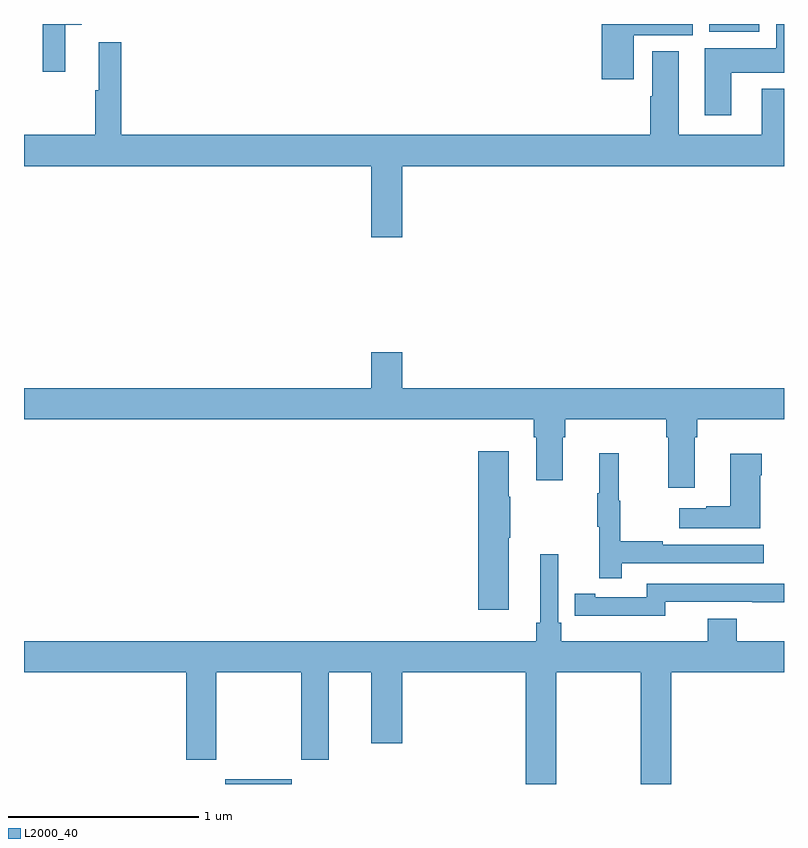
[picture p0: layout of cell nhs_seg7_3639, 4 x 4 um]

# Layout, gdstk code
import gdstk
lib = gdstk.Library(unit=1e-6, precision=1e-09)
def R(c, l, rs):  # rectangles x0, y0, x1, y1
    for r in rs: c.add(gdstk.rectangle(r[:2], r[2:], *l))
def P(c, l, *ps):  # polygons
    for p in ps: c.add(gdstk.Polygon(p, *l))
L2000_40 = (2000, 40)

nhs_seg7_3639 = lib.new_cell('nhs_seg7_3639')
R(nhs_seg7_3639, L2000_40, [(344.06,1028,344.41,1028.026), (346.607,1031.96,346.87,1032)])
P(nhs_seg7_3639, L2000_40, [(346.21,1031.942),(346.519,1031.942),(346.519,1032),(346.04,1032),(346.04,1031.709),(346.21,1031.709)],
  [(343.217,1031.996),(343.303,1031.996),(343.303,1032),(343.099,1032),(343.099,1031.748),(343.217,1031.748)],
  [(346.723,1031.744),(347,1031.744),(347,1032),(346.958,1032),(346.958,1031.872),(346.583,1031.872),(346.583,1031.52),(346.723,1031.52)],
  [(347,1031.659),(346.883,1031.659),(346.883,1031.416),(346.447,1031.416),(346.447,1031.857),(346.307,1031.857),(346.307,1031.621),(346.295,1031.621),(346.295,1031.416),(343.511,1031.416),(343.511,1031.905),(343.394,1031.905),(343.394,1031.652),(343.375,1031.652),(343.375,1031.416),(343,1031.416),(343,1031.252),(344.828,1031.252),(344.828,1030.878),(344.992,1030.878),(344.992,1031.252),(347,1031.252)],
  [(346.531,1029.824),(346.544,1029.824),(346.544,1029.92),(347,1029.92),(347,1030.084),(344.992,1030.084),(344.992,1030.273),(344.828,1030.273),(344.828,1030.084),(343,1030.084),(343,1029.92),(345.683,1029.92),(345.683,1029.824),(345.695,1029.824),(345.695,1029.6),(345.835,1029.6),(345.835,1029.824),(345.848,1029.824),(345.848,1029.92),(346.379,1029.92),(346.379,1029.824),(346.391,1029.824),(346.391,1029.558),(346.531,1029.558)],
  [(345.55,1029.295),(345.558,1029.295),(345.558,1029.512),(345.55,1029.512),(345.55,1029.751),(345.392,1029.751),(345.392,1028.916),(345.55,1028.916)],
  [(346.145,1029.162),(346.894,1029.162),(346.894,1029.258),(346.361,1029.258),(346.361,1029.278),(346.138,1029.278),(346.138,1029.492),(346.13,1029.492),(346.13,1029.742),(346.028,1029.742),(346.028,1029.529),(346.017,1029.529),(346.017,1029.355),(346.028,1029.355),(346.028,1029.084),(346.145,1029.084)],
  [(346.876,1029.626),(346.884,1029.626),(346.884,1029.739),(346.718,1029.739),(346.718,1029.461),(346.592,1029.461),(346.592,1029.451),(346.449,1029.451),(346.449,1029.347),(346.876,1029.347)],
  [(345.801,1028.588),(346.246,1028.588),(346.246,1028),(346.406,1028),(346.406,1028.588),(347,1028.588),(347,1028.752),(346.751,1028.752),(346.751,1028.869),(346.598,1028.869),(346.598,1028.752),(345.827,1028.752),(345.827,1028.848),(345.813,1028.848),(345.813,1029.208),(345.716,1029.208),(345.716,1028.848),(345.697,1028.848),(345.697,1028.752),(343,1028.752),(343,1028.588),(343.853,1028.588),(343.853,1028.127),(344.013,1028.127),(344.013,1028.588),(344.458,1028.588),(344.458,1028.127),(344.605,1028.127),(344.605,1028.588),(344.828,1028.588),(344.828,1028.214),(344.992,1028.214),(344.992,1028.588),(345.641,1028.588),(345.641,1028),(345.801,1028)],
  [(346.374,1028.958),(346.834,1028.958),(346.834,1028.957),(347,1028.957),(347,1029.054),(346.278,1029.054),(346.278,1028.982),(346.006,1028.982),(346.006,1029.002),(345.898,1029.002),(345.898,1028.886),(346.006,1028.886),(346.006,1028.885),(346.374,1028.885)])

lib.write_gds('nhs_seg7_3639.gds')
